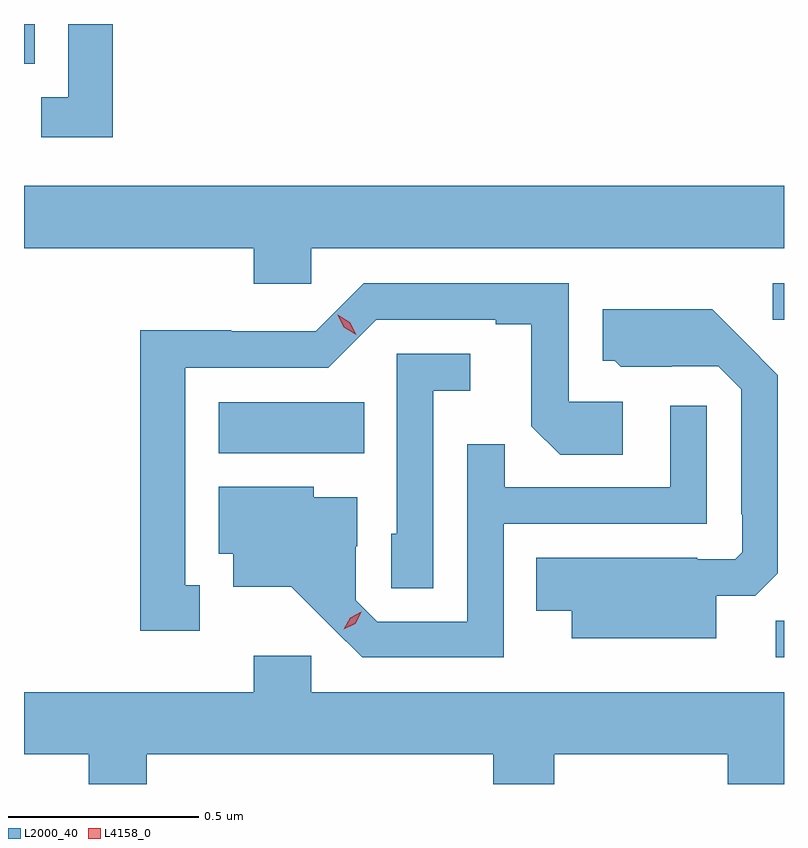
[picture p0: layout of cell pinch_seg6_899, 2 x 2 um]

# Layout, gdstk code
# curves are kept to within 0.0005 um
import gdstk
lib = gdstk.Library(unit=1e-6, precision=1e-09)
def R(c, l, rs):  # rectangles x0, y0, x1, y1
    for r in rs: c.add(gdstk.rectangle(r[:2], r[2:], *l))
def P(c, l, *ps):  # polygons
    for p in ps: c.add(gdstk.Polygon(p, *l))
L2000_40 = (2000, 40)
L4158_0 = (4158, 0)

pinch_seg6_899 = lib.new_cell('pinch_seg6_899')
R(pinch_seg6_899, L2000_40, [(125.74,986.22,125.762,986.315), (124.274,986.756,124.658,986.89), (125.733,987.108,125.762,987.204), (123.762,987.781,123.79,987.886)])
P(pinch_seg6_899, L2000_40, [(123.995,987.886),(123.879,987.886),(123.879,987.693),(123.807,987.693),(123.807,987.588),(123.995,987.588)],
  [(124.518,987.296),(125.762,987.296),(125.762,987.46),(123.762,987.46),(123.762,987.296),(124.367,987.296),(124.367,987.203),(124.518,987.203)],
  [(124.225,986.409),(124.186,986.409),(124.186,986.982),(124.563,986.982),(124.689,987.108),(125.003,987.108),(125.003,987.096),(125.097,987.096),(125.097,986.828),(125.173,986.752),(125.338,986.752),(125.338,986.892),(125.196,986.892),(125.196,987.204),(124.656,987.204),(124.53,987.078),(124.308,987.078),(124.308,987.08),(124.068,987.08),(124.068,986.289),(124.225,986.289)],
  [(125.584,986.381),(125.686,986.381),(125.745,986.44),(125.745,986.962),(125.573,987.136),(125.285,987.136),(125.285,987),(125.316,987),(125.332,986.984),(125.466,986.984),(125.466,986.985),(125.589,986.985),(125.649,986.925),(125.649,986.596),(125.652,986.596),(125.652,986.496),(125.634,986.478),(125.534,986.478),(125.534,986.482),(125.11,986.482),(125.11,986.342),(125.204,986.342),(125.204,986.27),(125.584,986.27)],
  [(124.839,986.921),(124.936,986.921),(124.936,987.018),(124.743,987.018),(124.743,986.544),(124.728,986.544),(124.728,986.401),(124.839,986.401)],
  [(125.025,986.571),(125.559,986.571),(125.559,986.881),(125.463,986.881),(125.463,986.667),(125.027,986.667),(125.027,986.78),(124.929,986.78),(124.929,986.313),(124.692,986.313),(124.635,986.37),(124.635,986.512),(124.639,986.512),(124.639,986.641),(124.524,986.641),(124.524,986.668),(124.274,986.668),(124.274,986.492),(124.313,986.492),(124.313,986.405),(124.465,986.405),(124.652,986.22),(125.025,986.22)],
  [(124.085,985.964),(124.997,985.964),(124.997,985.886),(125.157,985.886),(125.157,985.964),(125.614,985.964),(125.614,985.886),(125.762,985.886),(125.762,986.128),(124.518,986.128),(124.518,986.224),(124.367,986.224),(124.367,986.128),(123.762,986.128),(123.762,985.964),(123.932,985.964),(123.932,985.886),(124.085,985.886)])
P(pinch_seg6_899, L4158_0, [(124.603,986.293),(124.603,986.293),(124.62,986.323),(124.65,986.339),(124.65,986.339),(124.65,986.338),(124.634,986.308),(124.603,986.293)],
  [(124.636,987.068),(124.604,987.088),(124.587,987.121),(124.587,987.121),(124.588,987.121),(124.619,987.101),(124.636,987.068),(124.636,987.068)])

lib.write_gds('pinch_seg6_899.gds')
